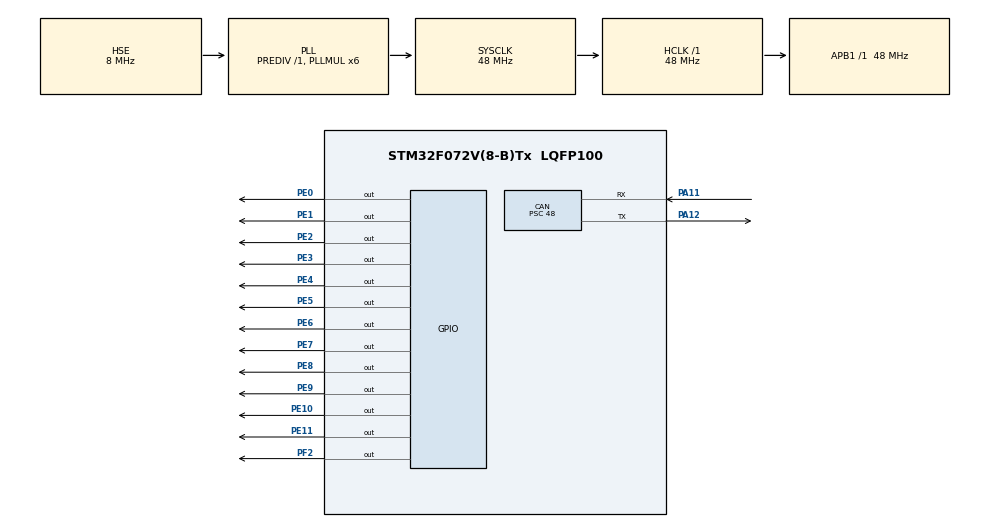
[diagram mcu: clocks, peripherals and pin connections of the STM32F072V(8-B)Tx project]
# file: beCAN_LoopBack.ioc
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CAN.ABOM=ENABLE
CAN.BS1=CAN_BS1_4TQ
CAN.BS2=CAN_BS2_5TQ
CAN.CalculateTimeBit=10000
CAN.CalculateTimeQuantum=1000.0
CAN.Mode=CAN_MODE_LOOPBACK
CAN.Prescaler=48
Mcu.Family=STM32F0
Mcu.Name=STM32F072V(8-B)Tx
Mcu.Package=LQFP100
NVIC.CEC_CAN_IRQn=true\:0\:0\:false\:false\:true
PA11.Mode=Master
PA11.Signal=CAN_RX
PA12.Mode=Master
PA12.Signal=CAN_TX
PE0.Signal=GPIO_Output
PE1.Signal=GPIO_Output
PE10.Signal=GPIO_Output
PE11.Signal=GPIO_Output
PE2.Signal=GPIO_Output
PE3.Signal=GPIO_Output
PE4.Signal=GPIO_Output
PE5.Signal=GPIO_Output
PE6.Signal=GPIO_Output
PE7.Signal=GPIO_Output
PE8.Signal=GPIO_Output
PE9.Signal=GPIO_Output
PF0-OSC_IN.Mode=HSE-External-Oscillator
PF0-OSC_IN.Signal=RCC_OSC_IN
PF1-OSC_OUT.Mode=HSE-External-Oscillator
PF1-OSC_OUT.Signal=RCC_OSC_OUT
PF2.Signal=GPIO_Output
ProjectManager.HeapSize=0x200
ProjectManager.StackSize=0x400
ProjectManager.TargetToolchain=MDK-ARM V5
RCC.AHBFreq_Value=48000000
RCC.APB1Freq_Value=48000000
RCC.APB1TimFreq_Value=48000000
RCC.HCLKFreq_Value=48000000
RCC.HSIState=RCC_HSI_ON
RCC.PLLMUL=RCC_PLL_MUL6
RCC.PLLSourceVirtual=RCC_PLLSOURCE_HSE
RCC.SYSCLKFreq_VALUE=48000000
RCC.SYSCLKSource=RCC_SYSCLKSOURCE_PLLCLK
board=beCAN_LoopBack

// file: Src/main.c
/**
  ******************************************************************************
  * File Name          : main.c
  * Description        : Main program body

	* beCAN 环回模式测试：标准标识符、8字节数据、数码管显示接收值
  ******************************************************************************
  *
  * COPYRIGHT(c) 2017 STMicroelectronics
  *
  * Redistribution and use in source and binary forms, with or without modification,
  * are permitted provided that the following conditions are met:
  *   1. Redistributions of source code must retain the above copyright notice,
  *      this list of conditions and the following disclaimer.
  *   2. Redistributions in binary form must reproduce the above copyright notice,
  *      this list of conditions and the following disclaimer in the documentation
  *      and/or other materials provided with the distribution.
  *   3. Neither the name of STMicroelectronics nor the names of its contributors
  *      may be used to endorse or promote products derived from this software
  *      without specific prior written permission.
  *
  * THIS SOFTWARE IS PROVIDED BY THE COPYRIGHT HOLDERS AND CONTRIBUTORS "AS IS"
  * AND ANY EXPRESS OR IMPLIED WARRANTIES, INCLUDING, BUT NOT LIMITED TO, THE
  * IMPLIED WARRANTIES OF MERCHANTABILITY AND FITNESS FOR A PARTICULAR PURPOSE ARE
  * DISCLAIMED. IN NO EVENT SHALL THE COPYRIGHT HOLDER OR CONTRIBUTORS BE LIABLE
  * FOR ANY DIRECT, INDIRECT, INCIDENTAL, SPECIAL, EXEMPLARY, OR CONSEQUENTIAL
  * DAMAGES (INCLUDING, BUT NOT LIMITED TO, PROCUREMENT OF SUBSTITUTE GOODS OR
  * SERVICES; LOSS OF USE, DATA, OR PROFITS; OR BUSINESS INTERRUPTION) HOWEVER
  * CAUSED AND ON ANY THEORY OF LIABILITY, WHETHER IN CONTRACT, STRICT LIABILITY,
  * OR TORT (INCLUDING NEGLIGENCE OR OTHERWISE) ARISING IN ANY WAY OUT OF THE USE
  * OF THIS SOFTWARE, EVEN IF ADVISED OF THE POSSIBILITY OF SUCH DAMAGE.
  *
  ******************************************************************************
  */
#include "stm32f0xx_hal.h"

CAN_HandleTypeDef hcan;

/* USER CODE BEGIN PV */
/* Private variables ---------------------------------------------------------*/

CAN_FilterConfTypeDef   sFilterConfig;     /* 定义CAN滤波器配置结构体变量 */

static CanTxMsgTypeDef  TxMessage;         /* 定义CAN发送信息结构体变量 */
static CanRxMsgTypeDef  RxMessage;         /* 定义CAN接收信息结构体变量 */

/* USER CODE END PV */

void SystemClock_Config(void);
void Error_Handler(void);
static void MX_GPIO_Init(void);
static void MX_CAN_Init(void);

/* USER CODE BEGIN PFP */
/* Private function prototypes -----------------------------------------------*/
void SEG_Display(uint32_t num);     /*  数码管显示函数  */

/* USER CODE END PFP */

/* USER CODE BEGIN 0 */
const uint8_t table0[]= {0x3f,0x06,0x5b,0x4f,0x66,0x6d,0x7d,0x07,0x7f,0x6f};  /* 共阴（无点）*/
const uint8_t table1[]= {0xbf,0x86,0xdb,0xcf,0xe6,0xed,0xfd,0x87,0xff,0xef};  /* 共阴（有点）*/

uint32_t  display;   /* 定义显示变量 */

/* USER CODE END 0 */

int main(void)
{

  /* MCU Configuration----------------------------------------------------------*/

  /* Reset of all peripherals, Initializes the Flash interface and the Systick. */
  HAL_Init();

  /* Configure the system clock */
  SystemClock_Config();

  /* Initialize all configured peripherals */
  MX_GPIO_Init();
  MX_CAN_Init();

  /* USER CODE BEGIN 2 */

	hcan.pTxMsg = &TxMessage; /* 发送结构体指针 */
	hcan.pRxMsg = &RxMessage; /* 接收结构体指针 */

	/* 配置beCAN发送信息  */
  hcan.pTxMsg->StdId = 0x123;
  hcan.pTxMsg->RTR = CAN_RTR_DATA;
  hcan.pTxMsg->IDE = CAN_ID_STD;
  hcan.pTxMsg->DLC = 8;
  hcan.pTxMsg->Data[0] = 1 ;
  hcan.pTxMsg->Data[1] = 2 ;
  hcan.pTxMsg->Data[2] = 3 ;
  hcan.pTxMsg->Data[3] = 4 ;
  hcan.pTxMsg->Data[4] = 5 ;
  hcan.pTxMsg->Data[5] = 6 ;
  hcan.pTxMsg->Data[6] = 7 ;
  hcan.pTxMsg->Data[7] = 8 ;

  /* 配置beCAN过滤器  */
  sFilterConfig.FilterNumber = 0;
  sFilterConfig.FilterMode = CAN_FILTERMODE_IDMASK;
  sFilterConfig.FilterScale = CAN_FILTERSCALE_32BIT;
  sFilterConfig.FilterIdHigh = 0x0000;
  sFilterConfig.FilterIdLow = 0x0000;
  sFilterConfig.FilterMaskIdHigh = 0x0000;
  sFilterConfig.FilterMaskIdLow = 0x0000;
  sFilterConfig.FilterFIFOAssignment = 0;
  sFilterConfig.FilterActivation = ENABLE;
  sFilterConfig.BankNumber = 0;
  HAL_CAN_ConfigFilter(&hcan, &sFilterConfig);

  /* USER CODE END 2 */

  /* Infinite loop */
  /* USER CODE BEGIN WHILE */
  while (1)
  {
		/* 开始beCAN发送处理  */
		if(HAL_CAN_Transmit(&hcan, 10) != HAL_OK)
		{
				/* 发送错误 */
				Error_Handler();
		}
		if(HAL_CAN_GetState(&hcan) != HAL_CAN_STATE_READY)
		{
				Error_Handler();
		}

		/* 开始beCAN接收处理  */
		if(HAL_CAN_Receive_IT(&hcan, CAN_FIFO0) != HAL_OK)
		{
				/* 接收错误 */
				Error_Handler();
		}
		if(HAL_CAN_GetState(&hcan) != HAL_CAN_STATE_READY)
		{
				Error_Handler();
		}

		/* 将数据4赋值给显求变量  */
		display = hcan.pRxMsg->Data[4];

		/*  数码管显示，刷新周期为16毫秒  */
		SEG_Display(display);

  /* USER CODE END WHILE */

  }

}

/** System Clock Configuration
*/
void SystemClock_Config(void)
{

  RCC_OscInitTypeDef RCC_OscInitStruct;
  RCC_ClkInitTypeDef RCC_ClkInitStruct;

  RCC_OscInitStruct.OscillatorType = RCC_OSCILLATORTYPE_HSE;
  RCC_OscInitStruct.HSEState = RCC_HSE_ON;
  RCC_OscInitStruct.PLL.PLLState = RCC_PLL_ON;
  RCC_OscInitStruct.PLL.PLLSource = RCC_PLLSOURCE_HSE;
  RCC_OscInitStruct.PLL.PLLMUL = RCC_PLL_MUL6;
  RCC_OscInitStruct.PLL.PREDIV = RCC_PREDIV_DIV1;
  if (HAL_RCC_OscConfig(&RCC_OscInitStruct) != HAL_OK)
  {
    Error_Handler();
  }

  RCC_ClkInitStruct.ClockType = RCC_CLOCKTYPE_HCLK|RCC_CLOCKTYPE_SYSCLK
                              |RCC_CLOCKTYPE_PCLK1;
  RCC_ClkInitStruct.SYSCLKSource = RCC_SYSCLKSOURCE_PLLCLK;
  RCC_ClkInitStruct.AHBCLKDivider = RCC_SYSCLK_DIV1;
  RCC_ClkInitStruct.APB1CLKDivider = RCC_HCLK_DIV1;
  if (HAL_RCC_ClockConfig(&RCC_ClkInitStruct, FLASH_LATENCY_1) != HAL_OK)
  {
    Error_Handler();
  }

  HAL_SYSTICK_Config(HAL_RCC_GetHCLKFreq()/1000);

  HAL_SYSTICK_CLKSourceConfig(SYSTICK_CLKSOURCE_HCLK);

  /* SysTick_IRQn interrupt configuration */
  HAL_NVIC_SetPriority(SysTick_IRQn, 0, 0);
}

/* CAN init function */
static void MX_CAN_Init(void)
{

  hcan.Instance = CAN;
  hcan.Init.Prescaler = 48;
  hcan.Init.Mode = CAN_MODE_LOOPBACK;
  hcan.Init.SJW = CAN_SJW_1TQ;
  hcan.Init.BS1 = CAN_BS1_4TQ;
  hcan.Init.BS2 = CAN_BS2_5TQ;
  hcan.Init.TTCM = DISABLE;
  hcan.Init.ABOM = ENABLE;
  hcan.Init.AWUM = DISABLE;
  hcan.Init.NART = DISABLE;
  hcan.Init.RFLM = DISABLE;
  hcan.Init.TXFP = DISABLE;
  if (HAL_CAN_Init(&hcan) != HAL_OK)
  {
    Error_Handler();
  }

}

/** Configure pins as
        * Analog
        * Input
        * Output
        * EVENT_OUT
        * EXTI
*/
static void MX_GPIO_Init(void)
{

  GPIO_InitTypeDef GPIO_InitStruct;

  /* GPIO Ports Clock Enable */
  __HAL_RCC_GPIOE_CLK_ENABLE();
  __HAL_RCC_GPIOF_CLK_ENABLE();
  __HAL_RCC_GPIOA_CLK_ENABLE();

  /*Configure GPIO pin Output Level */
  HAL_GPIO_WritePin(GPIOE, GPIO_PIN_2|GPIO_PIN_3|GPIO_PIN_4|GPIO_PIN_5
                          |GPIO_PIN_6|GPIO_PIN_7|GPIO_PIN_8|GPIO_PIN_9
                          |GPIO_PIN_10|GPIO_PIN_11|GPIO_PIN_0|GPIO_PIN_1, GPIO_PIN_RESET);

  /*Configure GPIO pin Output Level */
  HAL_GPIO_WritePin(GPIOF, GPIO_PIN_2, GPIO_PIN_RESET);

  /*Configure GPIO pins : PE2 PE3 PE4 PE5
                           PE6 PE7 PE8 PE9
                           PE10 PE11 PE0 PE1 */
  GPIO_InitStruct.Pin = GPIO_PIN_2|GPIO_PIN_3|GPIO_PIN_4|GPIO_PIN_5
                          |GPIO_PIN_6|GPIO_PIN_7|GPIO_PIN_8|GPIO_PIN_9
                          |GPIO_PIN_10|GPIO_PIN_11|GPIO_PIN_0|GPIO_PIN_1;
  GPIO_InitStruct.Mode = GPIO_MODE_OUTPUT_PP;
  GPIO_InitStruct.Pull = GPIO_NOPULL;
  GPIO_InitStruct.Speed = GPIO_SPEED_FREQ_LOW;
  HAL_GPIO_Init(GPIOE, &GPIO_InitStruct);

  /*Configure GPIO pin : PF2 */
  GPIO_InitStruct.Pin = GPIO_PIN_2;
  GPIO_InitStruct.Mode = GPIO_MODE_OUTPUT_PP;
  GPIO_InitStruct.Pull = GPIO_NOPULL;
  GPIO_InitStruct.Speed = GPIO_SPEED_FREQ_LOW;
  HAL_GPIO_Init(GPIOF, &GPIO_InitStruct);

}

/* USER CODE BEGIN 4 */

/*  数码管显示函数  */
void SEG_Display(uint32_t num)
{
	/* 取出四位数显示值 */
  uint8_t GeWei,ShiWei,BaiWei,QianWei;
	GeWei   = (uint8_t)(num%10);
	ShiWei  = (uint8_t)(num%100/10);
	BaiWei  = (uint8_t)(num%1000/100);
	QianWei = (uint8_t)(num/1000);

	/* 使能数码管位驱动  */
	HAL_GPIO_WritePin(GPIOF,GPIO_PIN_2,GPIO_PIN_RESET);

	/* 显示个位 */
	GPIOE->ODR |= (uint16_t)(table0[GeWei]);
	/* 使能个位 */
	HAL_GPIO_WritePin(GPIOE,GPIO_PIN_9|GPIO_PIN_10|GPIO_PIN_11,GPIO_PIN_SET);
	HAL_GPIO_WritePin(GPIOE,GPIO_PIN_8,GPIO_PIN_RESET);
	HAL_Delay(3);
	/* 消隐 */
  GPIOE->ODR &= 0xFF00;
	GPIOE->ODR |= 0x0F00;
	HAL_Delay(1);

	/* 显示十位 */
	GPIOE->ODR |= (uint16_t)(table0[ShiWei]);
	/* 使能十位 */
	HAL_GPIO_WritePin(GPIOE,GPIO_PIN_8|GPIO_PIN_10|GPIO_PIN_11,GPIO_PIN_SET);
	HAL_GPIO_WritePin(GPIOE,GPIO_PIN_9,GPIO_PIN_RESET);
	HAL_Delay(3);
	/* 消隐 */
  GPIOE->ODR &= 0xFF00;
	GPIOE->ODR |= 0x0F00;
	HAL_Delay(1);

	/* 显示百位 */
	GPIOE->ODR |= (uint16_t)(table0[BaiWei]);
	/* 使能百位 */
	HAL_GPIO_WritePin(GPIOE,GPIO_PIN_8|GPIO_PIN_9|GPIO_PIN_11,GPIO_PIN_SET);
	HAL_GPIO_WritePin(GPIOE,GPIO_PIN_10,GPIO_PIN_RESET);
	HAL_Delay(3);
	/* 消隐 */
  GPIOE->ODR &= 0xFF00;
	GPIOE->ODR |= 0x0F00;
	HAL_Delay(1);

	/* 显示千位 */
	GPIOE->ODR |= (uint16_t)(table0[QianWei]);
	/* 使能千位 */
	HAL_GPIO_WritePin(GPIOE,GPIO_PIN_8|GPIO_PIN_9|GPIO_PIN_10,GPIO_PIN_SET);
	HAL_GPIO_WritePin(GPIOE,GPIO_PIN_11,GPIO_PIN_RESET);
	HAL_Delay(3);
	/* 消隐 */
  GPIOE->ODR &= 0xFF00;
	GPIOE->ODR |= 0x0F00;
	HAL_Delay(1);
}

/* USER CODE END 4 */

void Error_Handler(void)
{
  while(1)
  {
  }
}

/************************ (C) COPYRIGHT STMicroelectronics *****END OF FILE****/
